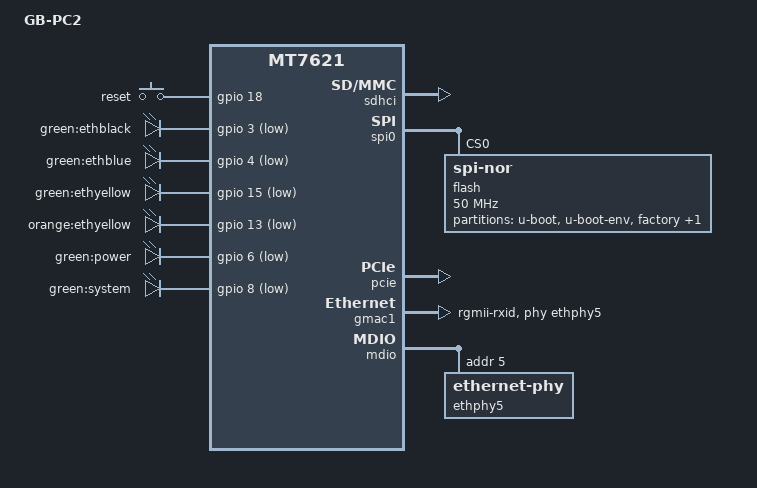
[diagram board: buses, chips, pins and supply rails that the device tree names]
#include "mt7621.dtsi"

#include <dt-bindings/gpio/gpio.h>
#include <dt-bindings/input/input.h>

/ {
	compatible = "gnubee,gb-pc2", "mediatek,mt7621-soc";
	model = "GB-PC2";

	aliases {
		led-boot = &led_system;
		led-failsafe = &led_system;
		led-running = &led_system;
		led-upgrade = &led_system;
	};

	keys {
		compatible = "gpio-keys";

		reset {
			label = "reset";
			gpios = <&gpio 18 GPIO_ACTIVE_HIGH>;
			linux,code = <KEY_RESTART>;
		};
	};

	leds {
		compatible = "gpio-leds";

		ethblack-green {
			label = "green:ethblack";
			gpios = <&gpio 3 GPIO_ACTIVE_LOW>;
		};

		ethblue-green {
			label = "green:ethblue";
			gpios = <&gpio 4 GPIO_ACTIVE_LOW>;
		};

		ethyellow-green {
			label = "green:ethyellow";
			gpios = <&gpio 15 GPIO_ACTIVE_LOW>;
		};

		ethyellow-orange {
			label = "orange:ethyellow";
			gpios = <&gpio 13 GPIO_ACTIVE_LOW>;
		};

		power {
			label = "green:power";
			gpios = <&gpio 6 GPIO_ACTIVE_LOW>;
			linux,default-trigger = "default-on";
		};

		led_system: system {
			label = "green:system";
			gpios = <&gpio 8 GPIO_ACTIVE_LOW>;
			linux,default-trigger = "disk-activity";
		};
	};
};

&sdhci {
	status = "okay";
};

&spi0 {
	status = "okay";

	flash@0 {
		compatible = "jedec,spi-nor";
		reg = <0>;
		spi-max-frequency = <50000000>;
		broken-flash-reset;

		partitions {
			compatible = "fixed-partitions";
			#address-cells = <1>;
			#size-cells = <1>;

			partition@0 {
				label = "u-boot";
				reg = <0x0 0x30000>;
				read-only;
			};

			partition@30000 {
				label = "u-boot-env";
				reg = <0x30000 0x10000>;
				read-only;
			};

			factory: partition@40000 {
				label = "factory";
				reg = <0x40000 0x10000>;
				read-only;
			};

			partition@50000 {
				compatible = "denx,uimage";
				label = "firmware";
				reg = <0x50000 0x1fb0000>;
			};
		};
	};
};

&pcie {
	status = "okay";
};

&gmac0 {
	nvmem-cells = <&macaddr_factory_e000>;
	nvmem-cell-names = "mac-address";
};

&gmac1 {
	status = "okay";
	label = "ethyellow";
	phy-mode = "rgmii-rxid";
	phy-handle = <&ethphy5>;

	nvmem-cells = <&macaddr_factory_e000>;
	nvmem-cell-names = "mac-address";
};

&mdio {
	ethphy5: ethernet-phy@5 {
		reg = <5>;
	};
};

&switch0 {
	ports {
		port@0 {
			status = "okay";
			label = "ethblack";
		};

		port@4 {
			status = "okay";
			label = "ethblue";
		};
	};
};

&state_default {
	gpio {
		groups = "jtag", "uart3", "wdt";
		function = "gpio";
	};
};

&factory {
	compatible = "nvmem-cells";
	#address-cells = <1>;
	#size-cells = <1>;

	macaddr_factory_e000: macaddr@e000 {
		reg = <0xe000 0x6>;
	};
};
